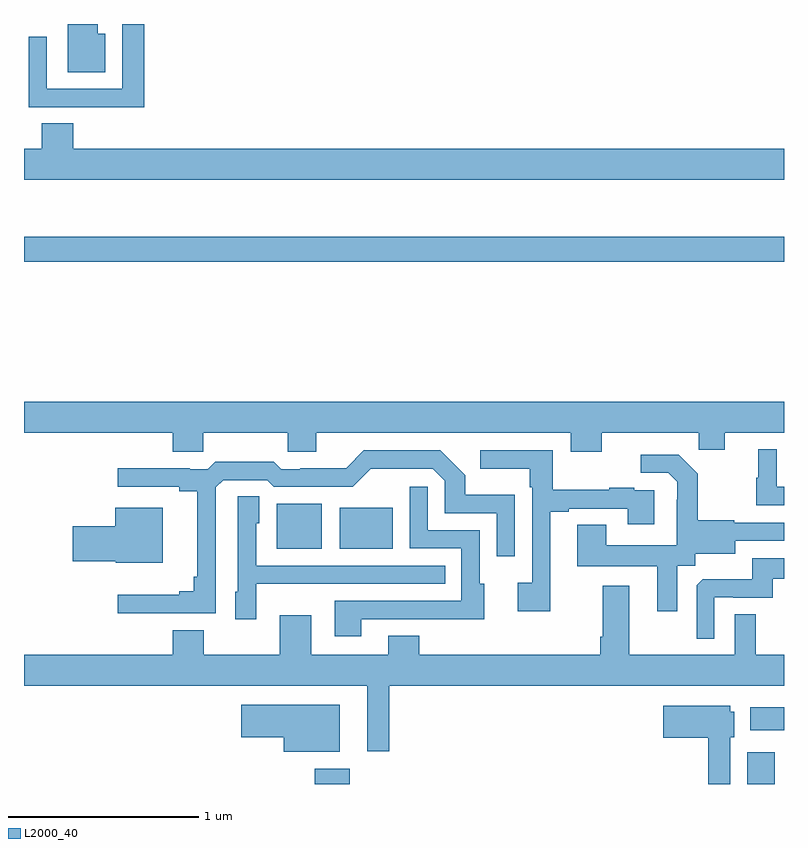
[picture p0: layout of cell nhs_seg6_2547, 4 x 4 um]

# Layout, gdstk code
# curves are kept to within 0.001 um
import gdstk
lib = gdstk.Library(unit=1e-6, precision=1e-09)
def R(c, l, rs):  # rectangles x0, y0, x1, y1
    for r in rs: c.add(gdstk.rectangle(r[:2], r[2:], *l))
def P(c, l, *ps):  # polygons
    for p in ps: c.add(gdstk.Polygon(p, *l))
L2000_40 = (2000, 40)

nhs_seg6_2547 = lib.new_cell('nhs_seg6_2547')
R(nhs_seg6_2547, L2000_40, [(264.531,933.5,264.715,933.58), (266.807,933.5,266.95,933.667), (266.822,933.782,267,933.904), (264.329,934.739,264.568,934.975), (264.662,934.739,264.94,934.954), (263,936.25,267,936.379)])
P(nhs_seg6_2547, L2000_40, [(263.428,937.45),(263.389,937.45),(263.389,937.5),(263.231,937.5),(263.231,937.247),(263.428,937.247)],
  [(263.633,937.5),(263.517,937.5),(263.517,937.158),(263.121,937.158),(263.121,937.432),(263.025,937.432),(263.025,937.062),(263.341,937.062),(263.341,937.061),(263.633,937.061)],
  [(267,936.844),(263.258,936.844),(263.258,936.977),(263.093,936.977),(263.093,936.844),(263,936.844),(263,936.68),(267,936.68)],
  [(266.041,935.348),(266.551,935.348),(266.551,935.258),(266.689,935.258),(266.689,935.348),(267,935.348),(267,935.512),(263,935.512),(263,935.348),(263.783,935.348),(263.783,935.25),(263.943,935.25),(263.943,935.348),(264.388,935.348),(264.388,935.25),(264.538,935.25),(264.538,935.348),(265.877,935.348),(265.877,935.249),(266.041,935.249)],
  [(267,935.064),(266.962,935.064),(266.962,935.263),(266.864,935.263),(266.864,935.112),(266.853,935.112),(266.853,934.968),(267,934.968)],
  [(264.009,935.061),(264.048,935.1),(264.279,935.1),(264.315,935.064),(264.729,935.064),(264.824,935.159),(265.152,935.16),(265.215,935.097),(265.215,934.926),(265.488,934.926),(265.488,934.698),(265.584,934.698),(265.584,935.023),(265.323,935.023),(265.323,935.126),(265.192,935.256),(264.789,935.256),(264.695,935.162),(264.454,935.162),(264.454,935.157),(264.354,935.157),(264.315,935.197),(264.007,935.197),(263.967,935.157),(263.873,935.157),(263.873,935.162),(263.493,935.162),(263.493,935.064),(263.816,935.064),(263.816,935.042),(263.912,935.042),(263.912,934.591),(263.893,934.591),(263.893,934.514),(263.816,934.514),(263.816,934.495),(263.493,934.495),(263.493,934.398),(264.009,934.398)],
  [(265.771,934.932),(265.867,934.932),(265.867,934.95),(266.177,934.95),(266.177,934.866),(266.317,934.866),(266.317,935.046),(266.213,935.046),(266.213,935.059),(266.081,935.059),(266.081,935.048),(265.783,935.048),(265.783,935.256),(265.401,935.256),(265.401,935.159),(265.662,935.159),(265.662,935.063),(265.674,935.063),(265.674,934.558),(265.599,934.558),(265.599,934.41),(265.771,934.41)],
  [(266.437,934.648),(266.532,934.648),(266.532,934.712),(266.743,934.712),(266.743,934.779),(267,934.779),(267,934.875),(266.739,934.875),(266.739,934.888),(266.547,934.888),(266.547,935.133),(266.447,935.233),(266.247,935.233),(266.247,935.139),(266.391,935.139),(266.438,935.092),(266.438,934.997),(266.436,934.997),(266.436,934.756),(266.065,934.756),(266.065,934.865),(265.913,934.865),(265.913,934.646),(266.333,934.646),(266.333,934.41),(266.437,934.41)],
  [(264.775,934.368),(265.205,934.368),(265.205,934.367),(265.423,934.367),(265.423,934.554),(265.398,934.554),(265.398,934.836),(265.125,934.836),(265.125,935.065),(265.029,935.065),(265.029,934.74),(265.302,934.74),(265.302,934.464),(264.635,934.464),(264.635,934.278),(264.775,934.278)],
  [(264.222,934.553),(264.539,934.553),(264.539,934.554),(265.217,934.554),(265.217,934.65),(264.222,934.65),(264.222,934.872),(264.238,934.872),(264.238,935.015),(264.126,935.015),(264.126,934.512),(264.113,934.512),(264.113,934.368),(264.222,934.368)],
  [(263.731,934.954),(263.48,934.954),(263.48,934.856),(263.256,934.856),(263.256,934.673),(263.484,934.673),(263.484,934.664),(263.731,934.664)],
  [(266.634,934.482),(266.734,934.482),(266.734,934.479),(266.942,934.479),(266.942,934.581),(267,934.581),(267,934.689),(266.832,934.689),(266.832,934.577),(266.573,934.577),(266.541,934.545),(266.541,934.265),(266.634,934.265)],
  [(264.923,934.016),(267,934.016),(267,934.18),(266.851,934.18),(266.851,934.394),(266.742,934.394),(266.742,934.18),(266.185,934.18),(266.185,934.543),(266.045,934.543),(266.045,934.276),(266.033,934.276),(266.033,934.18),(265.081,934.18),(265.081,934.279),(264.917,934.279),(264.917,934.18),(264.511,934.18),(264.511,934.387),(264.347,934.387),(264.347,934.18),(263.947,934.18),(263.947,934.309),(263.783,934.309),(263.783,934.18),(263,934.18),(263,934.016),(264.806,934.016),(264.806,933.672),(264.923,933.672)],
  [(264.661,933.916),(264.144,933.916),(264.144,933.746),(264.368,933.746),(264.368,933.671),(264.661,933.671)],
  [(266.718,933.747),(266.737,933.747),(266.737,933.879),(266.716,933.879),(266.716,933.913),(266.364,933.913),(266.364,933.743),(266.602,933.743),(266.602,933.5),(266.718,933.5)])

lib.write_gds('nhs_seg6_2547.gds')
